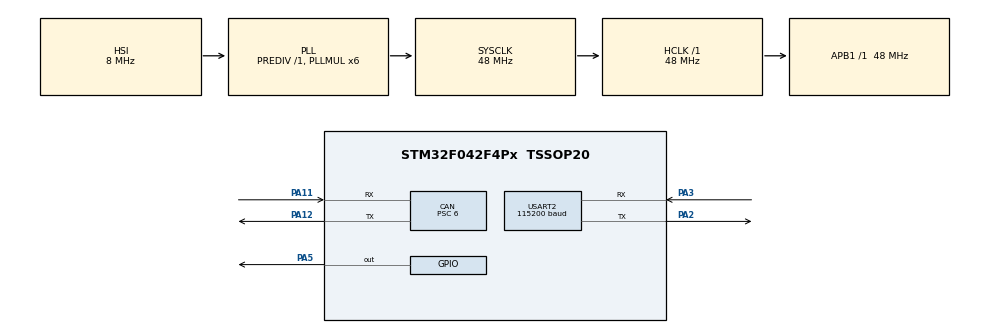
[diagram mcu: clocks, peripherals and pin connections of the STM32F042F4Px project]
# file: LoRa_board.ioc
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CAN.BS1=CAN_BS1_13TQ
CAN.BS2=CAN_BS2_2TQ
CAN.CalculateBaudRate=500000
CAN.CalculateTimeBit=2000
CAN.CalculateTimeQuantum=125.0
CAN.NART=DISABLE
CAN.Prescaler=6
Dma.Request0=USART2_TX
Dma.USART2_TX.0.Direction=DMA_MEMORY_TO_PERIPH
Dma.USART2_TX.0.Instance=DMA1_Channel4
Dma.USART2_TX.0.MemDataAlignment=DMA_MDATAALIGN_BYTE
Dma.USART2_TX.0.MemInc=DMA_MINC_ENABLE
Dma.USART2_TX.0.Mode=DMA_NORMAL
Dma.USART2_TX.0.PeriphDataAlignment=DMA_PDATAALIGN_BYTE
Dma.USART2_TX.0.PeriphInc=DMA_PINC_DISABLE
Dma.USART2_TX.0.Priority=DMA_PRIORITY_LOW
Mcu.Family=STM32F0
Mcu.Name=STM32F042F4Px
Mcu.Package=TSSOP20
NVIC.CEC_CAN_IRQn=true\:0\:0\:false\:false\:true\:true\:true\:true
NVIC.DMA1_Channel4_5_IRQn=true\:2\:0\:false\:false\:true\:false\:false\:true
NVIC.USART2_IRQn=true\:1\:0\:false\:false\:true\:true\:false\:true
PA11.Mode=CAN_Activate
PA11.Signal=CAN_RX
PA12.Mode=CAN_Activate
PA12.Signal=CAN_TX
PA2.Mode=Asynchronous
PA2.Signal=USART2_TX
PA3.Mode=Asynchronous
PA3.Signal=USART2_RX
PA5.Signal=GPIO_Output
PF0-OSC_IN.Mode=HSE-External-Oscillator
PF0-OSC_IN.Signal=RCC_OSC_IN
PF1-OSC_OUT.Mode=HSE-External-Oscillator
PF1-OSC_OUT.Signal=RCC_OSC_OUT
ProjectManager.HeapSize=0x200
ProjectManager.StackSize=0x400
ProjectManager.TargetToolchain=STM32CubeIDE
RCC.AHBFreq_Value=48000000
RCC.APB1Freq_Value=48000000
RCC.APB1TimFreq_Value=48000000
RCC.HCLKFreq_Value=48000000
RCC.PLLMUL=RCC_PLL_MUL6
RCC.SYSCLKFreq_VALUE=48000000
RCC.SYSCLKSource=RCC_SYSCLKSOURCE_PLLCLK
USART2.BaudRate=115200
USART2.VirtualMode-Asynchronous=VM_ASYNC
VP_SYS_VS_PINREMAP.Mode=PINREMAP
board=custom

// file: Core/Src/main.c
/* USER CODE BEGIN Header */
/**
  ******************************************************************************
  * @file           : main.c
  * @brief          : Car telemetry over LoRa (BUILD_INSTRUCTIONS.md in telemetry/).
  *                   Receives CAN, writes header + 3 x 64 B packets to the DX-LR02 every
  *                   200 ms, and (diagnostics builds) takes commands from the PC.
  *                   The LoRa modules are configured once by hand: this firmware sends no
  *                   AT commands.
  ******************************************************************************
  * @attention
  *
  * Copyright (c) 2025 STMicroelectronics.
  * All rights reserved.
  *
  * This software is licensed under terms that can be found in the LICENSE file
  * in the root directory of this software component.
  * If no LICENSE file comes with this software, it is provided AS-IS.
  *
  ******************************************************************************
  */
/* USER CODE END Header */
#include "main.h"

/* USER CODE BEGIN Includes */
#include "board.h"
#include "telem_core.h"
#if TELEM_BAMO_DIAG
#include "diag_core.h"
#endif
/* USER CODE END Includes */

CAN_HandleTypeDef hcan;

/* USER CODE BEGIN PV */
static uint8_t tx_buf[TS_WRITE_SIZE];   /* must not change while its DMA transfer runs */
/* USER CODE END PV */

void SystemClock_Config(void);
static void MX_GPIO_Init(void);
static void MX_DMA_Init(void);
static void MX_CAN_Init(void);
static void MX_USART2_UART_Init(void);

int main(void)
{

  /* MCU Configuration--------------------------------------------------------*/

  /* Reset of all peripherals, Initializes the Flash interface and the Systick. */
  HAL_Init();

  /* Configure the system clock */
  SystemClock_Config();

  /* Initialize all configured peripherals */
  MX_GPIO_Init();
  MX_DMA_Init();
  MX_CAN_Init();
  MX_USART2_UART_Init();
  /* USER CODE BEGIN 2 */
  board_uart_start();
  int can_ok = board_can_start();     /* a failure must not stop telemetry: retried below */
  uint32_t can_retry = HAL_GetTick();
  telem_init(HAL_GetTick());          /* first write 1 s from now */
#if TELEM_BAMO_DIAG
  diag_init(board_can_send);
#endif
  board_iwdg_start();

  uint32_t last_write = 0;
  int have_last = 0;
  /* USER CODE END 2 */

  /* Infinite loop */
  while (1)
  {

    /* USER CODE BEGIN 3 */
    uint32_t now = HAL_GetTick();
    can_frame_t f;
    uint8_t b, tec, rec, ep, boff;

    if (!can_ok && now - can_retry >= 1000u) {
      can_retry = now;
      can_ok = board_can_start();
    }

    while (board_can_pop(&f)) {
      telem_on_can(&f);
#if TELEM_BAMO_DIAG
      diag_on_can(&f);
#endif
    }
    for (uint8_t n = board_can_take_overflows(); n; n--) telem_note_rx_overflow();
    while (board_uart_pop(&b)) telem_lora_feed(b, now);
    board_can_state(&tec, &rec, &ep, &boff);
    telem_on_can_state(tec, rec, ep, boff, now);
#if TELEM_BAMO_DIAG
    diag_poll(now);
#endif
    telem_poll(now);

    if (telem_write_due(now)) {
      if (telem_tx_allowed(now, last_write, have_last, board_tx_busy(), TS_WRITE_SIZE)) {
        uint16_t len = telem_build_write(now, tx_buf);
        board_tx_start(tx_buf, len);
        last_write = now;
        have_last = 1;
        HAL_GPIO_TogglePin(GPIOA, GPIO_PIN_5);     /* 2.5 Hz blink = writing */
      } else {
        telem_write_skipped(now);
      }
    }
    board_iwdg_refresh();
  }
  /* USER CODE END 3 */
}

void SystemClock_Config(void)
{
  RCC_OscInitTypeDef RCC_OscInitStruct = {0};
  RCC_ClkInitTypeDef RCC_ClkInitStruct = {0};

  /** Initializes the RCC Oscillators according to the specified parameters
  * in the RCC_OscInitTypeDef structure.
  */
  RCC_OscInitStruct.OscillatorType = RCC_OSCILLATORTYPE_HSI;
  RCC_OscInitStruct.HSIState = RCC_HSI_ON;
  RCC_OscInitStruct.HSICalibrationValue = RCC_HSICALIBRATION_DEFAULT;
  RCC_OscInitStruct.PLL.PLLState = RCC_PLL_ON;
  RCC_OscInitStruct.PLL.PLLSource = RCC_PLLSOURCE_HSI;
  RCC_OscInitStruct.PLL.PLLMUL = RCC_PLL_MUL6;
  RCC_OscInitStruct.PLL.PREDIV = RCC_PREDIV_DIV1;
  if (HAL_RCC_OscConfig(&RCC_OscInitStruct) != HAL_OK)
  {
    Error_Handler();
  }

  /** Initializes the CPU, AHB and APB buses clocks
  */
  RCC_ClkInitStruct.ClockType = RCC_CLOCKTYPE_HCLK|RCC_CLOCKTYPE_SYSCLK
                              |RCC_CLOCKTYPE_PCLK1;
  RCC_ClkInitStruct.SYSCLKSource = RCC_SYSCLKSOURCE_PLLCLK;
  RCC_ClkInitStruct.AHBCLKDivider = RCC_SYSCLK_DIV1;
  RCC_ClkInitStruct.APB1CLKDivider = RCC_HCLK_DIV1;

  if (HAL_RCC_ClockConfig(&RCC_ClkInitStruct, FLASH_LATENCY_1) != HAL_OK)
  {
    Error_Handler();
  }
}

static void MX_CAN_Init(void)
{

  hcan.Instance = CAN;
  hcan.Init.Prescaler = 6;
  hcan.Init.Mode = CAN_MODE_NORMAL;
  hcan.Init.SyncJumpWidth = CAN_SJW_1TQ;
  hcan.Init.TimeSeg1 = CAN_BS1_13TQ;
  hcan.Init.TimeSeg2 = CAN_BS2_2TQ;
  hcan.Init.TimeTriggeredMode = DISABLE;
  hcan.Init.AutoBusOff = DISABLE;
  hcan.Init.AutoWakeUp = DISABLE;
  hcan.Init.AutoRetransmission = DISABLE;
  hcan.Init.ReceiveFifoLocked = DISABLE;
  hcan.Init.TransmitFifoPriority = DISABLE;
  if (HAL_CAN_Init(&hcan) != HAL_OK)
  {
    Error_Handler();
  }
  /* USER CODE BEGIN CAN_Init 2 */
  /* Still in initialization mode here, so BTR/MCR can be changed per build flag. */
  board_can_apply_mode();
  /* USER CODE END CAN_Init 2 */

}

static void MX_USART2_UART_Init(void)
{

  /* Peripheral clock enable */
  LL_APB1_GRP1_EnableClock(LL_APB1_GRP1_PERIPH_USART2);
  LL_AHB1_GRP1_EnableClock(LL_AHB1_GRP1_PERIPH_GPIOA);

  /**USART2 GPIO Configuration
  PA2   ------> USART2_TX
  PA3   ------> USART2_RX
  */
  LL_GPIO_SetPinMode(GPIOA, LL_GPIO_PIN_2, LL_GPIO_MODE_ALTERNATE);
  LL_GPIO_SetPinSpeed(GPIOA, LL_GPIO_PIN_2, LL_GPIO_SPEED_FREQ_HIGH);
  LL_GPIO_SetPinOutputType(GPIOA, LL_GPIO_PIN_2, LL_GPIO_OUTPUT_PUSHPULL);
  LL_GPIO_SetPinPull(GPIOA, LL_GPIO_PIN_2, LL_GPIO_PULL_NO);
  LL_GPIO_SetAFPin_0_7(GPIOA, LL_GPIO_PIN_2, LL_GPIO_AF_1);
  LL_GPIO_SetPinMode(GPIOA, LL_GPIO_PIN_3, LL_GPIO_MODE_ALTERNATE);
  LL_GPIO_SetPinSpeed(GPIOA, LL_GPIO_PIN_3, LL_GPIO_SPEED_FREQ_HIGH);
  LL_GPIO_SetPinPull(GPIOA, LL_GPIO_PIN_3, LL_GPIO_PULL_UP);
  LL_GPIO_SetAFPin_0_7(GPIOA, LL_GPIO_PIN_3, LL_GPIO_AF_1);

  /* USART2 DMA Init */
  /* USART2_TX Init: DMA1 channel 4, memory to peripheral, normal mode, bytes */
  LL_DMA_SetDataTransferDirection(DMA1, LL_DMA_CHANNEL_4, LL_DMA_DIRECTION_MEMORY_TO_PERIPH);
  LL_DMA_SetChannelPriorityLevel(DMA1, LL_DMA_CHANNEL_4, LL_DMA_PRIORITY_LOW);
  LL_DMA_SetMode(DMA1, LL_DMA_CHANNEL_4, LL_DMA_MODE_NORMAL);
  LL_DMA_SetPeriphIncMode(DMA1, LL_DMA_CHANNEL_4, LL_DMA_PERIPH_NOINCREMENT);
  LL_DMA_SetMemoryIncMode(DMA1, LL_DMA_CHANNEL_4, LL_DMA_MEMORY_INCREMENT);
  LL_DMA_SetPeriphSize(DMA1, LL_DMA_CHANNEL_4, LL_DMA_PDATAALIGN_BYTE);
  LL_DMA_SetMemorySize(DMA1, LL_DMA_CHANNEL_4, LL_DMA_MDATAALIGN_BYTE);

  /* 115200 8N1, PCLK1 = 48 MHz (BRR 417: 0.08% error) */
  LL_USART_SetBaudRate(USART2, 48000000u, LL_USART_OVERSAMPLING_16, 115200u);
  LL_USART_ConfigCharacter(USART2, LL_USART_DATAWIDTH_8B, LL_USART_PARITY_NONE, LL_USART_STOPBITS_1);
  LL_USART_SetTransferDirection(USART2, LL_USART_DIRECTION_TX_RX);
  LL_USART_SetHWFlowCtrl(USART2, LL_USART_HWCONTROL_NONE);
  LL_USART_ConfigAsyncMode(USART2);
  LL_USART_Enable(USART2);

}

static void MX_DMA_Init(void)
{

  /* Init with LL driver */
  /* DMA controller clock enable */
  LL_AHB1_GRP1_EnableClock(LL_AHB1_GRP1_PERIPH_DMA1);

  /* DMA interrupt init */
  /* DMA1_Channel4_5_IRQn interrupt configuration (TX completion is polled; no flags enabled) */
  NVIC_SetPriority(DMA1_Channel4_5_IRQn, 2);
  NVIC_EnableIRQ(DMA1_Channel4_5_IRQn);

}

static void MX_GPIO_Init(void)
{
  GPIO_InitTypeDef GPIO_InitStruct = {0};

  /* GPIO Ports Clock Enable */
  __HAL_RCC_GPIOF_CLK_ENABLE();
  __HAL_RCC_GPIOA_CLK_ENABLE();

  /*Configure GPIO pin Output Level */
  HAL_GPIO_WritePin(GPIOA, GPIO_PIN_5, GPIO_PIN_RESET);

  /*Configure GPIO pin : PA5 */
  GPIO_InitStruct.Pin = GPIO_PIN_5;
  GPIO_InitStruct.Mode = GPIO_MODE_OUTPUT_PP;
  GPIO_InitStruct.Pull = GPIO_NOPULL;
  GPIO_InitStruct.Speed = GPIO_SPEED_FREQ_LOW;
  HAL_GPIO_Init(GPIOA, &GPIO_InitStruct);

}

void Error_Handler(void)
{
  /* USER CODE BEGIN Error_Handler_Debug */
  /* Hang with interrupts off: the watchdog (once started) resets the board. */
  __disable_irq();
  while (1)
  {
  }
  /* USER CODE END Error_Handler_Debug */
}
